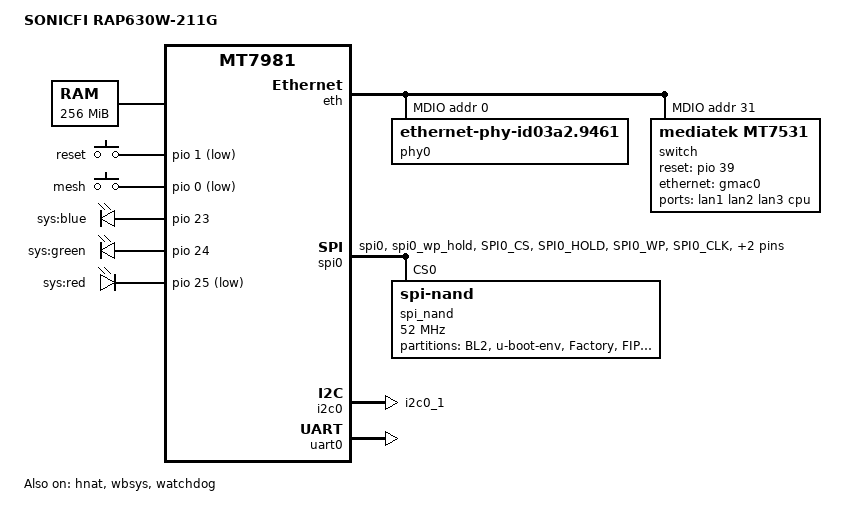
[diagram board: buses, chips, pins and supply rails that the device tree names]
// SPDX-License-Identifier: GPL-2.0-or-later OR MIT

/dts-v1/;
#include <dt-bindings/input/input.h>
#include <dt-bindings/gpio/gpio.h>

#include "mt7981.dtsi"

/ {
	aliases {
		serial0 = &uart0;
	};

	chosen {
		stdout-path = "serial0:115200n8";
	};

	memory {
		reg = <0 0x40000000 0 0x10000000>;
	};

	gpio-keys {
		compatible = "gpio-keys";

		reset {
			label = "reset";
			gpios = <&pio 1 GPIO_ACTIVE_LOW>;
			linux,code = <KEY_RESTART>;
		};

		mesh {
			label = "mesh";
			gpios = <&pio 0 GPIO_ACTIVE_LOW>;
			linux,code = <BTN_9>;
			linux,input-type = <EV_SW>;
		};
	};

	leds {
		compatible = "gpio-leds";

		led_blue {
			label = "sys:blue";
			gpios = <&pio 23 GPIO_ACTIVE_HIGH>;
			linux,default-trigger = "timer";
			active-delay = <500>;
			inactive-delay = <500>;
			default-state="on";
		};

		led_green {
			label = "sys:green";
			gpios = <&pio 24 GPIO_ACTIVE_HIGH>;
			linux,default-trigger = "timer";
			active-delay = <500>;
			inactive-delay = <500>;
			default-state="on";
		};

		led_red {
			label = "sys:red";
			gpios = <&pio 25 GPIO_ACTIVE_LOW>;
			linux,default-trigger = "timer";
			active-delay = <500>;
			inactive-delay = <500>;
			default-state="on";
		};
	};
};

&eth {
        status = "okay";

        gmac0: mac@0 {
                compatible = "mediatek,eth-mac";
                reg = <0>;
                phy-mode = "2500base-x";

                fixed-link {
                        speed = <2500>;
                        full-duplex;
                        pause;
                };
        };

		gmac1: mac@1 {
			compatible = "mediatek,eth-mac";
			reg = <1>;
			phy-mode = "gmii";
			phy-handle = <&phy0>;
		};

        mdio: mdio-bus {
                #address-cells = <1>;
                #size-cells = <0>;

		phy0: ethernet-phy@0 {
			compatible = "ethernet-phy-id03a2.9461";
			reg = <0>;
			phy-mode = "gmii";
			nvmem-cells = <&phy_calibration>;
			nvmem-cell-names = "phy-cal-data";
		};

		switch@0 {
					compatible = "mediatek,mt7531";
					reg = <31>;
					reset-gpios = <&pio 39 0>;

					ports {
							#address-cells = <1>;
							#size-cells = <0>;

							port@0 {
									reg = <0>;
									label = "lan1";
							};

							port@1 {
									reg = <1>;
									label = "lan2";
							};

							port@2 {
									reg = <2>;
									label = "lan3";
							};

							port@6 {
									reg = <6>;
									label = "cpu";
									ethernet = <&gmac0>;
									phy-mode = "2500base-x";

									fixed-link {
											speed = <2500>;
											full-duplex;
											pause;
									};
							};
					};
                };
        };
};

&spi0 {
	pinctrl-names = "default";
	pinctrl-0 = <&spi0_flash_pins>;
	status = "okay";

	spi_nand: flash@0 {
		#address-cells = <1>;
		#size-cells = <1>;
		compatible = "spi-nand";
		reg = <0>;

		spi-max-frequency = <52000000>;
		spi-tx-buswidth = <4>;
		spi-rx-buswidth = <4>;

		partitions: partitions {
			compatible = "fixed-partitions";
			#address-cells = <1>;
			#size-cells = <1>;

			partition@0 {
				label = "BL2";
				reg = <0x00 0x100000>;
				read-only;
			};

			partition@100000 {
				label = "u-boot-env";
				reg = <0x0100000 0x0080000>;
			};

			factory: partition@180000 {
				label = "Factory";
				reg = <0x180000 0x200000>;
				read-only;

				compatible = "nvmem-cells";
				#address-cells = <1>;
				#size-cells = <1>;

				macaddr_factory_4: macaddr@4 {
					reg = <0x4 0x6>;
				};
			};

			partition@380000 {
				label = "FIP";
				reg = <0x380000 0x200000>;
				read-only;
			};

			partition@580000 {
				label = "ubi";
				reg = <0x580000 0x6000000>;
			};

			partition@7580000 {
				label = "devinfo";
				reg = <0x6580000 0x00080000>;
			};

			partition@7600000 {
				label ="certificates";
				reg = <0x6600000 0x00080000>;
			};
		};
	};
};

&pio {
	i2c_pins: i2c-pins-g0 {
		mux {
			function = "i2c";
			groups = "i2c0_1";
		};
	};
	spi0_flash_pins: spi0-pins {
		mux {
			function = "spi";
			groups = "spi0", "spi0_wp_hold";
		};

		conf-pu {
			pins = "SPI0_CS", "SPI0_HOLD", "SPI0_WP";
			drive-strength = <MTK_DRIVE_8mA>;
			bias-pull-up = <MTK_PUPD_SET_R1R0_11>;
		};

		conf-pd {
			pins = "SPI0_CLK", "SPI0_MOSI", "SPI0_MISO";
			drive-strength = <MTK_DRIVE_8mA>;
			bias-pull-down = <MTK_PUPD_SET_R1R0_11>;
		};
	};
	pse_out_en {
			gpios = <&pio 27 GPIO_ACTIVE_HIGH>;
			output-high;
	};
	pse_int_n {
			gpios = <&pio 29 GPIO_ACTIVE_LOW>;
			input;
	};	
};

&hnat {
        mtketh-wan = "eth1";
        mtketh-lan = "lan";
        mtketh-max-gmac = <2>;
        status = "okay";
};

&i2c0 {
	pinctrl-names = "default";
	pinctrl-0 = <&i2c_pins>;
	status = "okay";

};

&pio {
	wf_dbdc_pins: wf_dbdc-pins {
		mux {
			function = "eth";
			groups = "wf0_mode1";
		};
		conf {
			pins = "WF_HB1", "WF_HB2", "WF_HB3", "WF_HB4",
			       "WF_HB0", "WF_HB0_B", "WF_HB5", "WF_HB6",
			       "WF_HB7", "WF_HB8", "WF_HB9", "WF_HB10",
			       "WF_TOP_CLK", "WF_TOP_DATA", "WF_XO_REQ",
			       "WF_CBA_RESETB", "WF_DIG_RESETB";
			drive-strength = <MTK_DRIVE_4mA>;
		};
	};
};

&wbsys {
	status = "okay";

	mediatek,mtd-eeprom = <&factory 0x0>;
	pinctrl-names = "dbdc";
	pinctrl-0 = <&wf_dbdc_pins>;
	power-limits {
		r0 {
			regdomain = "fcc";
			txpower-2g {
				r0 {
					channels = <1 1>;
					txs-delta = <0 0 0>;
					rates-cck = <38 38 38 38>;
					rates-ofdm = <37 37 37 37 37 37 37 37>;
					rates-mcs =
					<1 36 36 36 36 36 36 36 36 34 33>,
					<3 34 34 34 34 34 34 34 34 34 33>;
					rates-ru =
					<4 36 36 36 36 36 36 36 36 34 33 32 32>,
					<3 34 34 34 34 34 34 34 34 34 33 32 32>;
				};
				r1 {
					channels = <2 3>;
					txs-delta = <0 0 0>;
					rates-cck = <38 38 38 38>;
					rates-ofdm = <38 38 38 38 38 38 38 37>;
					rates-mcs =
					<1 38 38 38 38 38 38 37 36 34 33>,
					<3 34 34 34 34 34 34 34 34 34 33>;
					rates-ru =
					<4 38 38 38 38 38 38 37 36 34 33 32 32>,
					<3 34 34 34 34 34 34 34 34 34 33 32 32>;
				};
				r2 {
					channels = <4 8>;
					txs-delta = <0 0 0>;
					rates-cck = <38 38 38 38>;
					rates-ofdm = <38 38 38 38 38 38 38 37>;
					rates-mcs =
					<1 38 38 38 38 38 38 37 36 34 33>,
					<3 36 36 36 36 36 36 36 36 34 33>;
					rates-ru =
					<4 38 38 38 38 38 38 37 36 34 33 32 32>,
					<3 36 36 36 36 36 36 36 36 34 33 32 32>;
				};
				r3 {
					channels = <9 14>;
					txs-delta = <0 0 0>;
					rates-cck = <38 38 38 38>;
					rates-ofdm = <38 38 38 38 38 38 38 37>;
					rates-mcs =
					<1 38 38 38 38 38 38 37 36 34 33>,
					<3 32 32 32 32 32 32 32 32 32 32>;
					rates-ru =
					<4 38 38 38 38 38 38 37 36 34 33 32 32>,
					<3 32 32 32 32 32 32 32 32 32 32 32 32>;
				};
			};
			txpower-5g {
				r0 {
					channels = <184 196>;
					txs-delta = <0 0 0>;
					rates-ofdm = <40 40 40 40 40 40 39 38>;
					rates-mcs =
					<2 40 40 40 40 40 39 38 36 35 34>,
					<2 32 32 32 32 32 32 32 32 32 32>;
					rates-ru =
					<5 40 40 40 40 40 39 38 36 35 34 32 32>,
					<1 32 32 32 32 32 32 32 32 32 32 32 32>,
					<1 32 32 32 32 32 32 32 32 32 32 30 30>;
				};
				r1 {
					channels = <8 16>;
					txs-delta = <0 0 0>;
					rates-ofdm = <40 40 40 40 40 40 39 38>;
					rates-mcs =
					<2 40 40 40 40 40 39 38 36 35 34>,
					<2 32 32 32 32 32 32 32 32 32 32>;
					rates-ru =
					<5 40 40 40 40 40 39 38 36 35 34 32 32>,
					<1 32 32 32 32 32 32 32 32 32 32 32 32>,
					<1 32 32 32 32 32 32 32 32 32 32 30 30>;
				};
				r2 {
					channels = <36 40>;
					txs-delta = <0 0 0>;
					rates-ofdm = <40 40 40 40 40 40 39 38>;
					rates-mcs =
					<1 40 40 40 40 40 39 38 36 35 34>,
					<1 38 38 38 38 38 38 38 36 35 34>,
					<2 32 32 32 32 32 32 32 32 32 32>;
					rates-ru =
					<4 40 40 40 40 40 39 38 36 35 34 32 32>,
					<1 38 38 38 38 38 38 38 36 35 34 32 32>,
					<1 32 32 32 32 32 32 32 32 32 32 32 32>,
					<1 32 32 32 32 32 32 32 32 32 32 30 30>;
				};
				r3 {
					channels = <44 44>;
					txs-delta = <0 0 0>;
					rates-ofdm = <40 40 40 40 40 40 39 38>;
					rates-mcs =
					<2 40 40 40 40 40 39 38 36 35 34>,
					<2 32 32 32 32 32 32 32 32 32 32>;
					rates-ru =
					<5 40 40 40 40 40 39 38 36 35 34 32 32>,
					<1 32 32 32 32 32 32 32 32 32 32 32 32>,
					<1 32 32 32 32 32 32 32 32 32 32 30 30>;
				};
				r4 {
					channels = <48 48>;
					txs-delta = <0 0 0>;
					rates-ofdm = <39 39 39 39 39 39 39 38>;
					rates-mcs =
					<2 40 40 40 40 40 39 38 36 35 34>,
					<2 32 32 32 32 32 32 32 32 32 32>;
					rates-ru =
					<5 40 40 40 40 40 39 38 36 35 34 32 32>,
					<1 32 32 32 32 32 32 32 32 32 32 32 32>,
					<1 32 32 32 32 32 32 32 32 32 32 30 30>;
				};
				r5 {
					channels = <52 96>;
					txs-delta = <0 0 0>;
					rates-ofdm = <36 36 36 36 36 36 36 36>;
					rates-mcs =
					<3 36 36 36 36 36 36 36 36 35 34>,
					<1 32 32 32 32 32 32 32 32 32 32>;
					rates-ru =
					<6 36 36 36 36 36 36 36 36 35 34 32 32>,
					<1 32 32 32 32 32 32 32 32 32 32 30 30>;
				};
				r6 {
					channels = <100 112>;
					txs-delta = <0 0 0>;
					rates-ofdm = <36 36 36 36 36 36 36 36>;
					rates-mcs =
					<2 36 36 36 36 36 36 36 36 35 34>,
					<1 35 35 35 35 35 35 35 35 35 34>,
					<1 32 32 32 32 32 32 32 32 32 32>;
					rates-ru =
					<5 36 36 36 36 36 36 36 36 35 34 32 32>,
					<1 35 35 35 35 35 35 35 35 35 34 32 32>,
					<1 32 32 32 32 32 32 32 32 32 32 30 30>;
				};
				r7 {
					channels = <116 144>;
					txs-delta = <0 0 0>;
					rates-ofdm = <36 36 36 36 36 36 36 36>;
					rates-mcs =
					<3 36 36 36 36 36 36 36 36 35 34>,
					<1 32 32 32 32 32 32 32 32 32 32>;
					rates-ru =
					<6 36 36 36 36 36 36 36 36 35 34 32 32>,
					<1 32 32 32 32 32 32 32 32 32 32 30 30>;
				};
				r8 {
					channels = <149 181>;
					txs-delta = <0 0 0>;
					rates-ofdm = <40 40 40 40 40 40 39 38>;
					rates-mcs =
					<3 40 40 40 40 40 39 38 36 35 34>,
					<1 32 32 32 32 32 32 32 32 32 32>;
					rates-ru =
					<6 40 40 40 40 40 39 38 36 35 34 32 32>,
					<1 32 32 32 32 32 32 32 32 32 32 30 30>;
				};
			};
		};
		r1 {
			regdomain = "etsi";
			txpower-2g {
				r0 {
					channels = <1 14>;
					txs-delta = <0 0 0>;
					rates-cck = <29 29 29 29>;
					rates-ofdm = <30 30 30 30 30 30 30 30>;
					rates-mcs = 
					<4 28 28 28 28 28 28 28 28 28 28>;
					rates-ru = 
					<7 28 28 28 28 28 28 28 28 28 28 28 28>;
				};
			};
			txpower-5g {
				r0 {
					channels = <184 196>;
					txs-delta = <0 0 0>;
					rates-ofdm = <33 33 33 33 33 33 33 33>;
					rates-mcs = 
					<4 33 33 33 33 33 33 33 33 33 33>;
					rates-ru = 
					<6 33 33 33 33 33 33 33 33 33 33 32 32>,
					<1 33 33 33 33 33 33 33 33 33 33 30 30>;
				};
				r1 {
					channels = <8 16>;
					txs-delta = <0 0 0>;
					rates-ofdm = <33 33 33 33 33 33 33 33>;
					rates-mcs = 
					<4 33 33 33 33 33 33 33 33 33 33>;
					rates-ru = 
					<6 33 33 33 33 33 33 33 33 33 33 32 32>,
					<1 33 33 33 33 33 33 33 33 33 33 30 30>;
				};
				r2 {
					channels = <36 48>;
					txs-delta = <0 0 0>;
					rates-ofdm = <33 33 33 33 33 33 33 33>;
					rates-mcs = 
					<4 33 33 33 33 33 33 33 33 33 33>;
					rates-ru = 
					<6 33 33 33 33 33 33 33 33 33 33 32 32>,
					<1 33 33 33 33 33 33 33 33 33 33 30 30>;
				};
				r3 {
					channels = <52 96>;
					txs-delta = <0 0 0>;
					rates-ofdm = <33 33 33 33 33 33 33 33>;
					rates-mcs = 
					<1 32 32 32 32 32 32 32 32 32 32>,
					<3 33 33 33 33 33 33 33 33 33 33>;
					rates-ru = 
					<4 32 32 32 32 32 32 32 32 32 32 32 32>,
					<2 33 33 33 33 33 33 33 33 33 33 32 32>,
					<1 33 33 33 33 33 33 33 33 33 33 30 30>;
				};
				r4 {
					channels = <100 128>;
					txs-delta = <0 0 0>;
					rates-ofdm = <40 40 40 40 40 40 39 38>;
					rates-mcs = 
					<3 40 40 40 40 40 39 38 36 35 34>,
					<1 40 40 40 39 39 38 36 35 34 33>;
					rates-ru = 
					<6 40 40 40 40 40 39 38 36 35 34 32 32>,
					<1 40 40 40 39 39 38 36 35 34 33 30 30>;
				};
				r5 {
					channels = <132 144>;
					txs-delta = <0 0 0>;
					rates-ofdm = <40 40 40 40 40 40 39 38>;
					rates-mcs = 
					<3 40 40 40 40 40 39 38 36 35 34>,
					<1 32 32 32 32 32 32 32 32 32 32>;
					rates-ru = 
					<6 40 40 40 40 40 39 38 36 35 34 32 32>,
					<1 32 32 32 32 32 32 32 32 32 32 30 30>;
				};
				r6 {
					channels = <149 181>;
					txs-delta = <0 0 0>;
					rates-ofdm = <40 40 40 40 40 40 39 38>;
					rates-mcs = 
					<3 40 40 40 40 40 39 38 36 35 34>,
					<1 32 32 32 32 32 32 32 32 32 32>;
					rates-ru = 
					<6 40 40 40 40 40 39 38 36 35 34 32 32>,
					<1 32 32 32 32 32 32 32 32 32 32 30 30>;
				};
			};
		};
	};
};

&uart0 {
	status = "okay";
};

&watchdog {
	status = "okay";
};


/ {
	model = "SONICFI RAP630W-211G";
	compatible = "sonicfi,rap630w-211g", "mediatek,mt7981";
};


